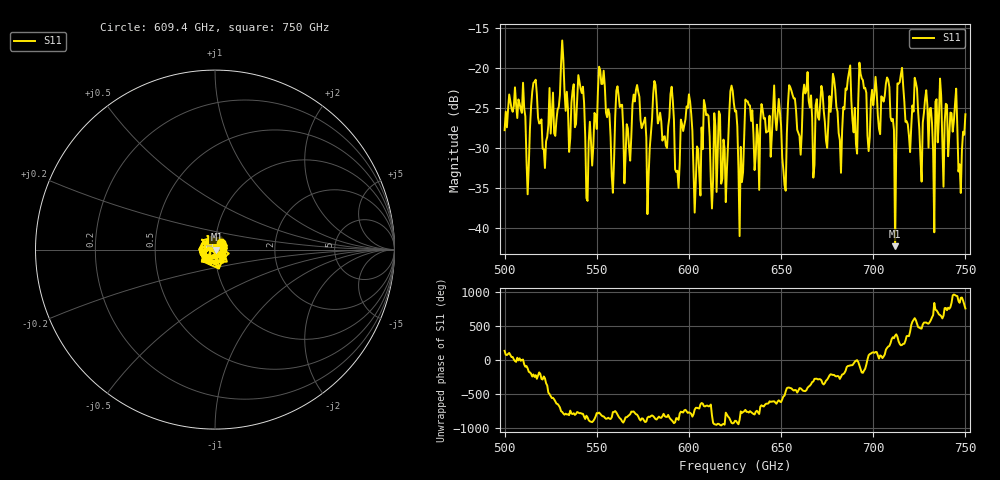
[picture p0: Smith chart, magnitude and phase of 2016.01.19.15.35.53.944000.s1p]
!Created with skrf (http://scikit-rf.org).
# GHz S RI R 50.0
!freq ReS11 ImS11
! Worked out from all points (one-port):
!   401 points, 500 GHz to 750 GHz, reference 50 ohm
!   lowest |S11| = -42.2 dB at 711.9 GHz (marker M1), VSWR 1.02, Z = 50.8 - j0.00566 ohm
!   |S11| at or under -10 dB: start of sweep to end of sweep
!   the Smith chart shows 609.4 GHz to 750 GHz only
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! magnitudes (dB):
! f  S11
! 500 GHz  -27.8
! 512.5 GHz  -35.8
! 516.2 GHz  -21.7
! 521.9 GHz  -32.5
! 531.2 GHz  -16.6
! 541.2 GHz  -22.6
! 545.6 GHz  -29.2
! 552.5 GHz  -22.0
! 558.1 GHz  -33.5
! 562.5 GHz  -24.9
! 578.1 GHz  -33.4
! 581.2 GHz  -21.6
! 590.6 GHz  -22.3
! 593.8 GHz  -32.8
! 599.4 GHz  -25.0
! 604.4 GHz  -29.8
! 625 GHz  -25.4
! 628.1 GHz  -29.8
! 631.9 GHz  -24.2
! 651.9 GHz  -34.6
! 656.2 GHz  -23.4
! 681.9 GHz  -29.0
! 687.5 GHz  -19.7
! 707.5 GHz  -21.2
! 711.9 GHz  -42.2
! 714.4 GHz  -21.8
! 718.8 GHz  -27.0
! 750 GHz  -25.8
